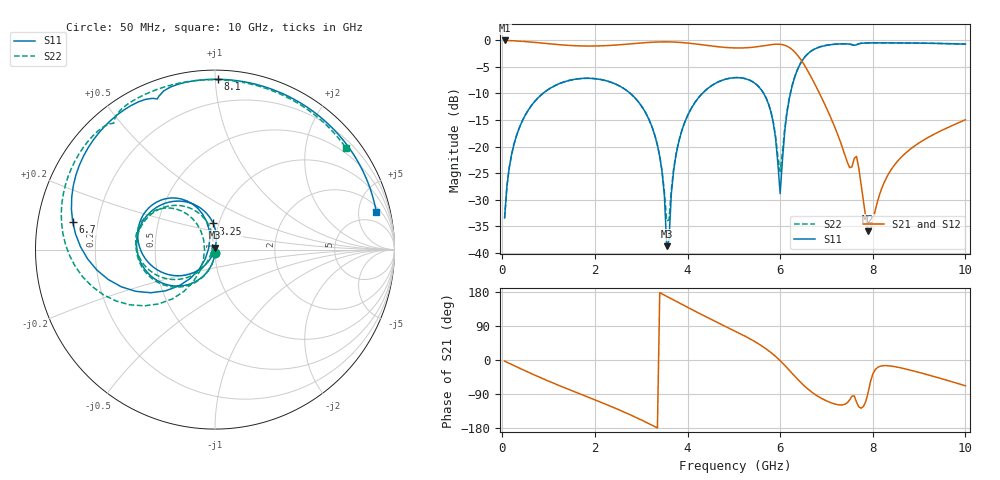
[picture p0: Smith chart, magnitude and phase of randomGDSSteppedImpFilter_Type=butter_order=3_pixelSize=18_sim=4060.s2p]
! freq	dB(S11)	phase(S11)	dB(S12)	phase(S12)
!  dB(S21)	phase(S21)	dB(S22)	phase(S22)
!S-par simulation data
#  GHz  S  DB  R 50
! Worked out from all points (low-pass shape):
!   200 points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, 50 MHz to 10 GHz, reference 50 ohm
!   highest |S21| = -0.01 dB at 50 MHz (marker M1); lowest = -35.9 dB at 7.9 GHz (marker M2)
!   |S21| within 3 dB of the highest: start of sweep to 6.395 GHz
!   lowest |S11| = -38.8 dB at 3.55 GHz (marker M3), VSWR 1.02, Z = 50 + j1.15 ohm
!   |S11| at or under -10 dB: start of sweep to 877.1 MHz; 2.765 GHz to 4.32 GHz (1.555 GHz wide, 43.9 % of centre); 5.644 GHz to 6.222 GHz (578.1 MHz wide, 9.74 % of centre)
!   |S22| runs from -34.0 to -0.5 dB; largest |S21 - S12| = 0
!   S11 on the Smith chart (normalised r, x): 50 MHz: 1.00, -0.04; 3.25 GHz: 0.94, +0.28; 6.7 GHz: 0.11, +0.10; 8.1 GHz: 0.05, +1.02; 10 GHz: 2.75, +7.74
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0.05  -33.48 -93.0  -0.01 -3.0  -0.01 -3.0  -33.48 -92.9
0.2  -21.55 -102.2  -0.05 -11.7  -0.05 -11.7  -21.55 -101.9
0.5  -14.02 -119.8  -0.21 -28.8  -0.21 -28.8  -14.02 -118.8
1.75  -7.15 174.8  -1.05 -93.0  -1.05 -93.0  -7.15 178.4
2.55  -8.68 134.1  -0.81 -133.0  -0.81 -133.0  -8.68 140.0
3.25  -16.73 93.9  -0.33 -173.1  -0.33 -173.1  -16.70 104.7
3.4  -21.91 85.0  -0.28 177.6  -0.28 177.6  -21.80 100.6
3.5  -29.22 80.4  -0.27 171.2  -0.27 171.2  -28.52 108.9
3.55  -38.79 89.0  -0.27 168.0  -0.27 168.0  -34.03 140.5
3.7  -24.56 -117.4  -0.30 158.4  -0.30 158.4  -24.21 -123.4
3.95  -15.23 -132.5  -0.45 142.3  -0.45 142.3  -15.17 -129.3
5.05  -7.02 159.9  -1.42 74.9  -1.42 74.9  -7.00 169.9
5.75  -12.03 112.8  -0.86 24.5  -0.86 24.5  -11.97 128.2
6  -28.88 168.1  -0.73 -1.7  -0.73 -1.7  -24.69 -177.8
6.25  -8.90 -140.2  -1.66 -34.0  -1.66 -34.0  -8.77 -130.9
6.7  -1.85 168.8  -7.40 -86.3  -7.40 -86.3  -1.82 -177.7
7.5  -0.70 114.8  -23.96 -105.3  -23.96 -105.3  -0.69 132.2
7.65  -0.82 110.1  -21.87 -111.1  -21.87 -111.1  -0.79 128.0
7.9  -0.47 97.9  -35.95 -85.9  -35.95 -85.9  -0.46 116.7
8.1  -0.45 88.9  -30.43 -20.0  -30.43 -20.0  -0.46 108.5
8.35  -0.46 78.3  -25.03 -15.4  -25.03 -15.4  -0.46 98.9
10  -0.70 13.1  -14.95 -68.1  -14.95 -68.1  -0.69 37.8
